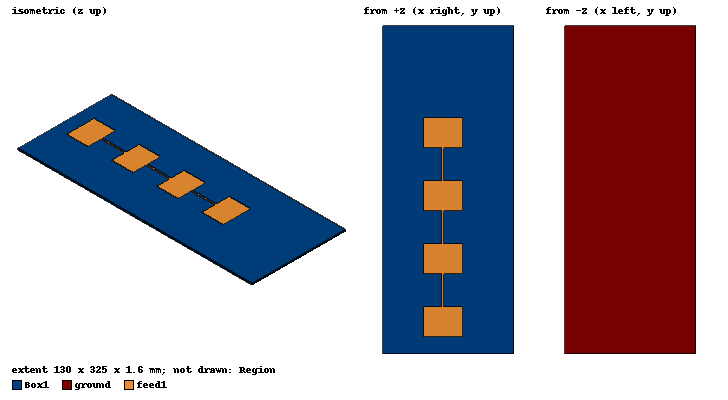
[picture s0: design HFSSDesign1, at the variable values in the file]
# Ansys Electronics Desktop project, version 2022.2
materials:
  vacuum: permittivity=1
  FR4_epoxy: permittivity=4.4 dielectric_loss_tangent=0.02
  air: permittivity=1.0006 permeability=1.0000004

design HFSSDesign1 (HFSS, DrivenModal, model units mm)
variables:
  L = 100mm
  B = 70mm
  l1 = 38mm
  l2 = 38mm
  w1 = 29.5mm
  lf2 = (lambda-w1-w2)*0.5
  w2 = 29.5mm
  lf3 = (lambda-w2-w3)*0.5
  l3 = 38mm
  w3 = 29.5mm
  lf4 = (lambda-w3-w4)*0.5
  l4 = 38mm
  w4 = 29.5mm
  lf1 = 17mm
  h = 1.6mm
  lambda = 125mm
  sl = 130mm
  sb = 325mm
  a = 2mm
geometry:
  patch1 = rectangle(corner=(-l1/2, -w1/2, 0mm), x_size=l1, y_size=w1)
  coordinate_system RelativeCS1 = origin=(0mm, w1/2, 0mm) x=(1mm, 0mm, 0mm) y=(0mm, 1mm, 0mm)
  feed2 = rectangle(corner=(-a*0.5, 0mm, 0mm), x_size=a, y_size=lf2) in RelativeCS1
  coordinate_system RelativeCS2 = origin=(0mm, lf2, 0mm) x=(1mm, 0mm, 0mm) y=(0mm, 1mm, 0mm) in RelativeCS1
  patch2 = rectangle(corner=(-l2/2, 0, 0mm), x_size=l2, y_size=w2) in RelativeCS2
  coordinate_system RelativeCS3 = origin=(0mm, w2, 0mm) x=(1mm, 0mm, 0mm) y=(0mm, 1mm, 0mm) in RelativeCS2
  feed3 = rectangle(corner=(-a*0.5, 0mm, 0mm), x_size=a, y_size=lf3) in RelativeCS3
  coordinate_system RelativeCS4 = origin=(0mm, lf3, 0mm) x=(1mm, 0mm, 0mm) y=(0mm, 1mm, 0mm) in RelativeCS3
  patch3 = rectangle(corner=(-l3/2, 0, 0mm), x_size=l3, y_size=w3) in RelativeCS4
  coordinate_system RelativeCS5 = origin=(0mm, w3, 0mm) x=(1mm, 0mm, 0mm) y=(0mm, 1mm, 0mm) in RelativeCS4
  feed4 = rectangle(corner=(-a*0.5, 0mm, 0mm), x_size=a, y_size=lf4) in RelativeCS5
  coordinate_system RelativeCS6 = origin=(0mm, lf4, 0mm) x=(1mm, 0mm, 0mm) y=(0mm, 1mm, 0mm) in RelativeCS5
  patch4 = rectangle(corner=(-l4/2, 0, 0mm), x_size=l4, y_size=w4) in RelativeCS6
  coordinate_system RelativeCS7 = origin=(0mm, -w1/2, 0mm) x=(1mm, 0mm, 0mm) y=(0mm, 1mm, 0mm)
  feed1 = rectangle(corner=(-1.5mm, 0mm, 0mm), x_size=3mm, y_size=lf1) in RelativeCS7
  coordinate_system RelativeCS8 = origin=(0mm, -lf1, 0mm) x=(1mm, 0mm, 0mm) y=(0mm, 1mm, 0mm) in RelativeCS7
  Box1 [FR4_epoxy] = box(corner=(-60mm, 0mm, 0mm), size=(sl, sb, -h)) in RelativeCS8
  ground [oriented by RelativeCS8] = rectangle(corner=(70mm, 0mm, -h), x_size=-sl, y_size=sb) in RelativeCS8
  source = rectangle(corner=(-2mm, 0mm, 0mm), z_size=-h, x_size=4mm) in RelativeCS8
  feed1.unite(feed2, feed3, feed4, patch1..patch4)
  Region [air] = region(transverse_percentage_offset=lambda/4 on all sides) in RelativeCS8
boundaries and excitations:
  PerfE1: Perfect E Objects=[feed1, ground]
  Rad1: Radiation Objects=Region
  1: Lumped Port Objects=source Modes{Mode1{IntLine{(0, -31.75, -1.6) -> (0, -31.75, 0)} CharImp=Zpi RenormImp=50ohm}} Impedance=50ohm
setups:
  Setup1: HfssDriven Frequency=2.4GHz MaxDeltaS=0.02 MaximumPasses=30 MinimumPasses=1 MinimumConvergedPasses=1 PercentRefinement=30 BasisOrder=1 PortAccuracy=2 DrivenSolverType="Direct Solver"
    sweep Sweep: 1GHz to 3.6GHz, 401 points; Type=Interpolating InterpTolerance=0.5 InterpMaxSolns=250 InterpUsePortImped=false PassivityErrorTolerance=0.0001
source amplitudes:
  1:1: 1W 0deg
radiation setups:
  Infinite Sphere1: Infinite Sphere Theta=0deg..180deg step 2deg Phi=-180deg..180deg step 2deg
  Infinite Sphere2: Infinite Sphere Theta=0deg..180deg step 2deg Phi=-180deg..180deg step 2deg
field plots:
  Mag_E1, Mag_E2: E Field over feed1.face(#160) on Setup1 : LastAdaptive at Freq=2.4GHz Phase=0deg
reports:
  S Parameter Plot 1: dB(S(1,1)) vs Freq on Setup1 : Sweep
  Gain Plot 1: dB(GainTotal) vs Phi, Theta on Setup1 : LastAdaptive, Infinite Sphere1 [Freq=2.4GHz]
  Z Parameter Plot 1: re(Z(1,1)) vs Freq on Setup1 : Sweep [w1=all w2=all w3=all w4=all]
  Z Parameter Plot 2: im(Z(1,1)) vs Freq on Setup1 : Sweep [w1=all w2=all w3=all w4=all]
